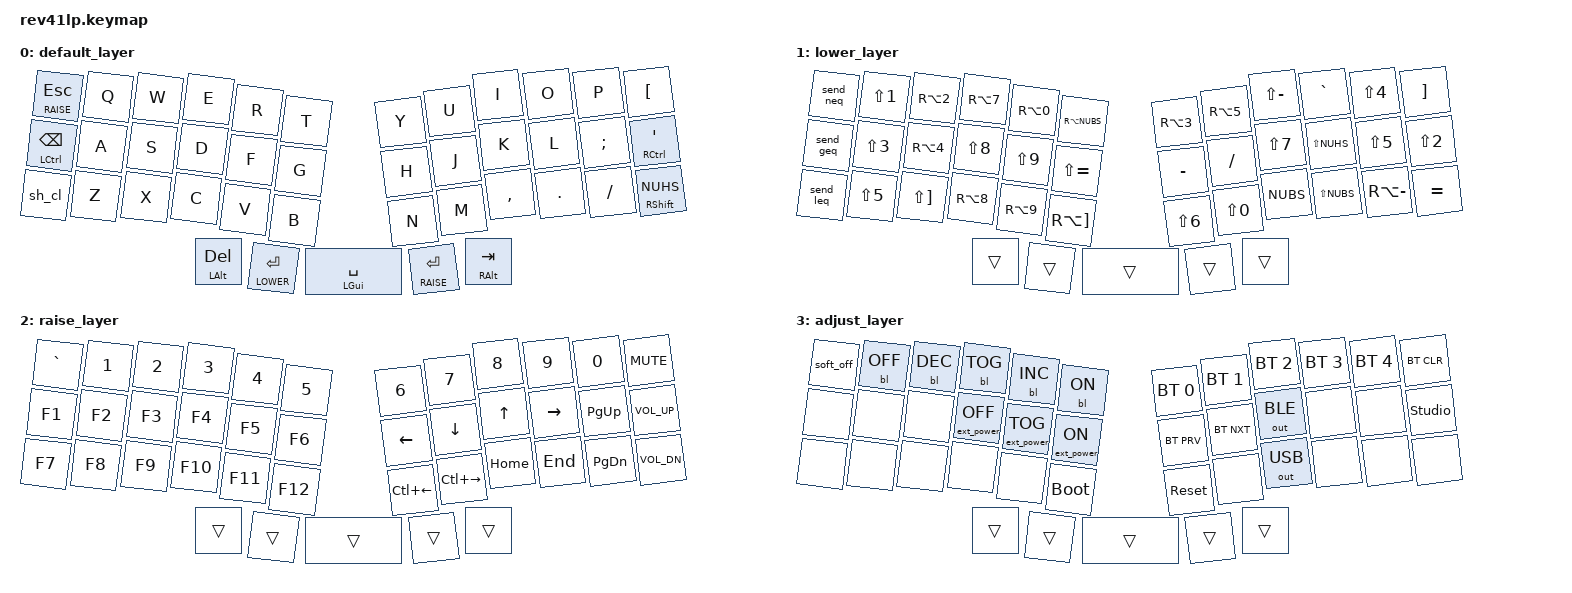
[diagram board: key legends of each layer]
/*
 * Copyright (c) 2024 The ZMK Contributors
 *
 * SPDX-License-Identifier: MIT
 */

#include <behaviors.dtsi>
#include <dt-bindings/zmk/backlight.h>
#include <dt-bindings/zmk/bt.h>
#include <dt-bindings/zmk/ext_power.h>
#include <dt-bindings/zmk/keys.h>
#include <dt-bindings/zmk/outputs.h>

#define DEFAULT 0
#define LOWER   1
#define RAISE   2
#define ADJST   3
#define S_SECT GRAVE // §
#define S_PLUS MINUS // +
#define S_ACUT EQUAL // ´ (dead)
#define S_ARNG LBKT  // Å
#define S_DIAE RBKT  // ¨ (dead)
#define S_ODIA SEMI  // Ö
#define S_ADIA SQT   // Ä
#define S_QUOT NUHS  // '
#define S_LABK NUBS  // <
#define S_MINS FSLH  // -
#define S_EXLM LS(N1)     // !
#define S_DQUO LS(N2)     // "
#define S_HASH LS(N3)     // #
#define S_CURR LS(N4)     // ¤
#define S_PERC LS(N5)     // %
#define S_AMPR LS(N6)     // &
#define S_SLSH LS(N7)     // /
#define S_LPRN LS(N8)     // (
#define S_RPRN LS(N9)     // )
#define S_EQL  LS(N0)     // =
#define S_QUES LS(MINUS) // ?
#define S_GRV  LS(EQUAL) // ` (dead)
#define S_CIRC LS(RBKT) // ^ (dead)
#define S_ASTR LS(NUHS) // *
#define S_RABK LS(NUBS) // >
#define S_AT   RA(N2)     // @
#define S_PND  RA(N3)     // £
#define S_DLR  RA(N4)     // $
#define S_EURO RA(N5)     // €
#define S_LCBR RA(N7)     // {
#define S_LBRC RA(N8)     // [
#define S_RBRC RA(N9)     // ]
#define S_RCBR RA(N0)     // }
#define S_BSLS RA(MINUS) // (backslash)
#define S_TILD RA(RBKT) // ~ (dead)
#define S_PIPE RA(NUBS) // |
#define WLEFT  LC(LEFT)
#define WRIGHT LC(RIGHT)

/ {
    behaviors {
        sh_cl: shift_capslock {
            compatible = "zmk,behavior-tap-dance";
            #binding-cells = <0>;
            tapping-term-ms = <200>;
            bindings = <&kp LSHIFT>, <&kp CAPSLOCK>;
        };

        ht_tf: hold_tap_tap_pref {
            compatible = "zmk,behavior-hold-tap";
            #binding-cells = <2>;
            flavor = "tap-preferred";
            quick-tap-ms = <200>;
            bindings = <&kp>, <&kp>;

            label = "HT_TF";
            tapping-term-ms = <200>;
        };
    };

    cond_layers {
        compatible = "zmk,conditional-layers";

        trilayer {
            if-layers = <1 2>;
            then-layer = <3>;
        };
    };

    macros {
        send_leq: send_lt {
            compatible = "zmk,behavior-macro";
            #binding-cells = <0>;
            bindings = <&macro_tap>, <&kp NUBS &kp LS(N0)>;

            label = "SEND_LT";
        };

        send_geq: send_geq {
            compatible = "zmk,behavior-macro";
            #binding-cells = <0>;
            bindings = <&macro_tap>, <&kp LS(NUBS) &kp LS(N0)>;

            label = "SEND_GEQ";
        };

        send_neq: send_neq {
            compatible = "zmk,behavior-macro";
            #binding-cells = <0>;
            bindings = <&macro_tap>, <&kp EXCL &kp LS(N0)>;

            label = "SEND_NEQ";
        };
    };

    keymap {
        compatible = "zmk,keymap";

        default_layer {
            // ------------------------------------------------------------------------------
            // |  ESC |  Q  |  W  |  E  |  R  |  T  |   |  Y  |  U  |  I  |  O  |  P  |  Å  |
            // | BSPS |  A  |  S  |  D  |  F  |  G  |   |  H  |  J  |  K  |  L  |  Ö  |  Ä  |
            // | SHFT |  Z  |  X  |  C  |  V  |  B  |   |  N  |  M  |  ,  |  .  |  -  |  '  |
            //                          | DEL | LWR |SPC| RSE | TAB |

            bindings = <
&lt RAISE ESC      &kp Q          &kp W              &kp E          &kp R         &kp T
&kp Y              &kp U          &kp I              &kp O          &kp P         &kp LBKT
&ht_tf LCTRL BSPC  &kp A          &kp S              &kp D          &kp F         &kp G
&kp H              &kp J          &kp K              &kp L          &kp SEMI      &ht_tf RCTRL SQT
&sh_cl             &kp Z          &kp X              &kp C          &kp V         &kp B
&kp N              &kp M          &kp COMMA          &kp DOT        &kp FSLH      &ht_tf RSHIFT NUHS
&mt LALT DEL       &lt LOWER RET  &ht_tf LGUI SPACE  &lt RAISE RET  &mt RALT TAB
            >;
        };

        lower_layer {
            // -----------------------------------------------------------------------------
            // |     |  !  |  @  |  {  |  }  |  |  |   |  £  |  €  |  ?  |  §  |  ¤  |  ¨  |
            // |     |  #  |  $  |  (  |  )  |  `  |   |  +  |  -  |  /  |  *  |  %  |  "  |
            // |     |  %  |  ^  |  [  |  ]  |  ~  |   |  &  |  =  |  <  |  >  |  \  |  ´  |
            //                         |     |     |   | ADJ |     |

            bindings = <
&send_neq   &kp LS(N1)  &kp RA(N2)     &kp RA(N7)    &kp RA(N0)     &kp RA(NUBS)
&kp RA(N3)  &kp RA(N5)  &kp LS(MINUS)  &kp GRAVE     &kp LS(N4)     &kp RBKT
&send_geq   &kp LS(N3)  &kp RA(N4)     &kp LS(N8)    &kp LS(N9)     &kp LS(EQUAL)
&kp MINUS   &kp FSLH    &kp LS(N7)     &kp LS(NUHS)  &kp LS(N5)     &kp LS(N2)
&send_leq   &kp LS(N5)  &kp LS(RBKT)   &kp RA(N8)    &kp RA(N9)     &kp RA(RBKT)
&kp LS(N6)  &kp LS(N0)  &kp NUBS       &kp LS(NUBS)  &kp RA(MINUS)  &kp EQUAL
&trans      &trans      &trans         &trans        &trans
            >;
        };

        raise_layer {
            // -----------------------------------------------------------------------------
            // |  §   |  1  |  2  |  3  |  4  |  5  |   |  6  |  7  |  8  |  9  |  0  | MUTE |
            // |  F1  |  F2 |  F3 |  F4 |  F5 |  F6 |   | LEFT| DOWN|  UP | RGHT| PGUP| VOL+ |
            // |  F7  |  F8 |  F9 | F10 | F11 | F12 |   |WLEFT|WRGHT| HOME| END | PGDN| VOL- |
            //                          |     | ADJ |   |    |     |

            bindings = <
&kp GRAVE     &kp N1         &kp N2    &kp N3     &kp N4     &kp N5
&kp N6        &kp N7         &kp N8    &kp N9     &kp N0     &kp C_MUTE
&kp F1        &kp F2         &kp F3    &kp F4     &kp F5     &kp F6
&kp LEFT      &kp DOWN       &kp UP    &kp RIGHT  &kp PG_UP  &kp C_VOL_UP
&kp F7        &kp F8         &kp F9    &kp F10    &kp F11    &kp F12
&kp LC(LEFT)  &kp LC(RIGHT)  &kp HOME  &kp END    &kp PG_DN  &kp C_VOL_DN
&trans        &trans         &trans    &trans     &trans
            >;
        };

        adjust_layer {
            // ------------------------------------------------------------------------------
            // |     |     |     | BL- | BLT | BL+ |   | BT1 | BT2 | BT3 | BT4 | BT5 |BT CLR|
            // |     |     |     |     |     |     |   |     |     |     |     |     |      |
            // |     |     |     |     |     |     |   |RESET|     |     |     |     |      |
            //                         |     |     |   |     |     |

            bindings = <
&soft_off     &bl BL_OFF    &bl BL_DEC    &bl BL_TOG         &bl BL_INC         &bl BL_ON
&bt BT_SEL 0  &bt BT_SEL 1  &bt BT_SEL 2  &bt BT_SEL 3       &bt BT_SEL 4       &bt BT_CLR
&none         &none         &none         &ext_power EP_OFF  &ext_power EP_TOG  &ext_power EP_ON
&bt BT_PRV    &bt BT_NXT    &out OUT_BLE  &none              &none              &studio_unlock
&none         &none         &none         &none              &none              &bootloader
&sys_reset    &none         &out OUT_USB  &none              &none              &none
&trans        &trans        &trans        &trans             &trans
            >;
        };
    };
};
